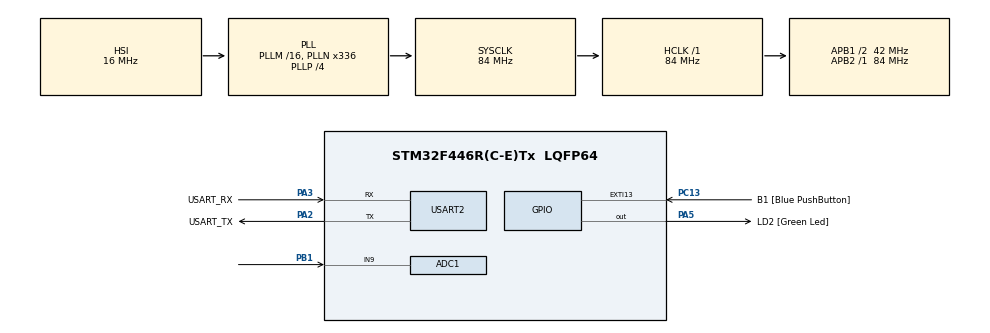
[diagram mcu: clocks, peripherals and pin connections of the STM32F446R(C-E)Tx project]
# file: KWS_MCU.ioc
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ADC1.Channel-0\#ChannelRegularConversion=ADC_CHANNEL_9
ADC1.ClockPrescaler=ADC_CLOCK_SYNC_PCLK_DIV4
ADC1.ContinuousConvMode=DISABLE
ADC1.DMAContinuousRequests=ENABLE
ADC1.DataAlign=ADC_DATAALIGN_RIGHT
ADC1.DiscontinuousConvMode=DISABLE
ADC1.EOCSelection=ADC_EOC_SINGLE_CONV
ADC1.EnableAnalogWatchDog=false
ADC1.ExternalTrigConv=ADC_EXTERNALTRIGCONV_T2_TRGO
ADC1.ExternalTrigConvEdge=ADC_EXTERNALTRIGCONVEDGE_RISING
ADC1.InjNumberOfConversion=0
ADC1.NbrOfConversion=1
ADC1.NbrOfConversionFlag=1
ADC1.Rank-0\#ChannelRegularConversion=1
ADC1.Resolution=ADC_RESOLUTION_12B
ADC1.SamplingTime-0\#ChannelRegularConversion=ADC_SAMPLETIME_3CYCLES
ADC1.ScanConvMode=DISABLE
ADC1.master=1
Dma.ADC1.0.Direction=DMA_PERIPH_TO_MEMORY
Dma.ADC1.0.FIFOMode=DMA_FIFOMODE_DISABLE
Dma.ADC1.0.Instance=DMA2_Stream0
Dma.ADC1.0.MemDataAlignment=DMA_MDATAALIGN_WORD
Dma.ADC1.0.MemInc=DMA_MINC_ENABLE
Dma.ADC1.0.Mode=DMA_CIRCULAR
Dma.ADC1.0.PeriphDataAlignment=DMA_PDATAALIGN_WORD
Dma.ADC1.0.PeriphInc=DMA_PINC_DISABLE
Dma.ADC1.0.Priority=DMA_PRIORITY_HIGH
Dma.Request0=ADC1
Mcu.Family=STM32F4
Mcu.Name=STM32F446R(C-E)Tx
Mcu.Package=LQFP64
NVIC.DMA2_Stream0_IRQn=true\:0\:0\:false\:false\:true\:false\:true
NVIC.PriorityGroup=NVIC_PRIORITYGROUP_0
PA13.GPIO_Label=TMS
PA13.Mode=Serial_Wire
PA13.Signal=SYS_JTMS-SWDIO
PA14.GPIO_Label=TCK
PA14.Mode=Serial_Wire
PA14.Signal=SYS_JTCK-SWCLK
PA2.GPIO_Label=USART_TX
PA2.Mode=Asynchronous
PA2.Signal=USART2_TX
PA3.GPIO_Label=USART_RX
PA3.Mode=Asynchronous
PA3.Signal=USART2_RX
PA5.GPIO_Label=LD2 [Green Led]
PA5.Signal=GPIO_Output
PB1.Signal=ADCx_IN9
PB3.GPIO_Label=SWO
PB3.Signal=SYS_JTDO-SWO
PC13.GPIO_Label=B1 [Blue PushButton]
PC13.GPIO_ModeDefaultEXTI=GPIO_MODE_IT_FALLING
PC13.Signal=GPXTI13
PC14-OSC32_IN.Mode=LSE-External-Oscillator
PC14-OSC32_IN.Signal=RCC_OSC32_IN
PC15-OSC32_OUT.Mode=LSE-External-Oscillator
PC15-OSC32_OUT.Signal=RCC_OSC32_OUT
PH0-OSC_IN.Mode=HSE-External-Oscillator
PH0-OSC_IN.Signal=RCC_OSC_IN
PH1-OSC_OUT.Mode=HSE-External-Oscillator
PH1-OSC_OUT.Signal=RCC_OSC_OUT
ProjectManager.HeapSize=0x200
ProjectManager.StackSize=0x400
ProjectManager.TargetToolchain=MDK-ARM V5
RCC.48MHZClocksFreq_Value=84000000
RCC.AHBFreq_Value=84000000
RCC.APB1CLKDivider=RCC_HCLK_DIV2
RCC.APB1Freq_Value=42000000
RCC.APB1TimFreq_Value=84000000
RCC.APB2Freq_Value=84000000
RCC.APB2TimFreq_Value=84000000
RCC.CortexFreq_Value=84000000
RCC.FLatency-AdvancedSettings=FLASH_LATENCY_2
RCC.HCLKFreq_Value=84000000
RCC.HSE_VALUE=8000000
RCC.HSI_VALUE=16000000
RCC.PLLN=336
RCC.PLLP=RCC_PLLP_DIV4
RCC.SYSCLKFreq_VALUE=84000000
RCC.SYSCLKSource=RCC_SYSCLKSOURCE_PLLCLK
RCC.USBFreq_Value=168000000
RCC.VCOOutputFreq_Value=336000000
SH.ADCx_IN9.0=ADC1_IN9,IN9
TIM2.Period=5249
TIM2.TIM_MasterOutputTrigger=TIM_TRGO_UPDATE
USART2.VirtualMode=VM_ASYNC
VP_TIM2_VS_ClockSourceINT.Mode=Internal
board=NUCLEO-F446RE

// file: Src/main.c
/**
  ******************************************************************************
  * @file           : main.c
  * @brief          : Main program body
  ******************************************************************************
  ** This notice applies to any and all portions of this file
  * that are not between comment pairs USER CODE BEGIN and
  * USER CODE END. Other portions of this file, whether
  * inserted by the user or by software development tools
  * are owned by their respective copyright owners.
  *
  * COPYRIGHT(c) 2019 STMicroelectronics
  *
  * Redistribution and use in source and binary forms, with or without modification,
  * are permitted provided that the following conditions are met:
  *   1. Redistributions of source code must retain the above copyright notice,
  *      this list of conditions and the following disclaimer.
  *   2. Redistributions in binary form must reproduce the above copyright notice,
  *      this list of conditions and the following disclaimer in the documentation
  *      and/or other materials provided with the distribution.
  *   3. Neither the name of STMicroelectronics nor the names of its contributors
  *      may be used to endorse or promote products derived from this software
  *      without specific prior written permission.
  *
  * THIS SOFTWARE IS PROVIDED BY THE COPYRIGHT HOLDERS AND CONTRIBUTORS "AS IS"
  * AND ANY EXPRESS OR IMPLIED WARRANTIES, INCLUDING, BUT NOT LIMITED TO, THE
  * IMPLIED WARRANTIES OF MERCHANTABILITY AND FITNESS FOR A PARTICULAR PURPOSE ARE
  * DISCLAIMED. IN NO EVENT SHALL THE COPYRIGHT HOLDER OR CONTRIBUTORS BE LIABLE
  * FOR ANY DIRECT, INDIRECT, INCIDENTAL, SPECIAL, EXEMPLARY, OR CONSEQUENTIAL
  * DAMAGES (INCLUDING, BUT NOT LIMITED TO, PROCUREMENT OF SUBSTITUTE GOODS OR
  * SERVICES; LOSS OF USE, DATA, OR PROFITS; OR BUSINESS INTERRUPTION) HOWEVER
  * CAUSED AND ON ANY THEORY OF LIABILITY, WHETHER IN CONTRACT, STRICT LIABILITY,
  * OR TORT (INCLUDING NEGLIGENCE OR OTHERWISE) ARISING IN ANY WAY OUT OF THE USE
  * OF THIS SOFTWARE, EVEN IF ADVISED OF THE POSSIBILITY OF SUCH DAMAGE.
  *
  ******************************************************************************
  */
#include "main.h"
#include "stm32f4xx_hal.h"
#include "adc.h"
#include "dma.h"
#include "tim.h"
#include "usart.h"
#include "gpio.h"
#include "filter_values.h"
#include "network_weights.h"
#include "network_parameters.h"
#include "arm_nnfunctions.h"

/* USER CODE BEGIN Includes */
#include "stdint.h"
#include "arm_math.h"
#include "core_cm4.h"
#include "arm_const_structs.h"
#include "LCD.h"

/* USER CODE END Includes */

/* USER CODE BEGIN PV */
/* Private variables ---------------------------------------------------------*/
#define N_FFT 512
#define N_SHIFT 160
#define N_MEL 40
#define N_FRAMES 100
#define RFFT 0
#define RIFFT 1

uint32_t audio_input_A[N_SHIFT];
uint32_t audio_input_B[N_SHIFT];
uint32_t * current_audio_input = audio_input_A;
float spectrogram[N_FRAMES*N_MEL];
q7_t q7_spectrogram[N_FRAMES*N_MEL] = TEST_INPUT;
float current_frame[N_FFT];
float DC_value[1];
float FFT_in[N_FFT];
float FFT_out[N_FFT];
float MAG_out[N_FFT/2];
volatile int adc_done = 0;
int i = 0;
int j = 0;
int k = 0;
int frame_pos = 0;

// include the input and weights
static q7_t conv0_wt[CONV0_IM_CH * CONV0_KER_DIM_X * CONV0_KER_DIM_Y * CONV0_OUT_CH] = CONV0_WT;
static q7_t conv0_bias[CONV0_OUT_CH] = CONV0_BIAS;
static q7_t conv1_wt[CONV1_IM_CH * CONV1_KER_DIM_X * CONV1_KER_DIM_Y * CONV1_OUT_CH] = CONV1_WT;
static q7_t conv1_bias[CONV1_OUT_CH] = CONV1_BIAS;
static q7_t conv2_wt[CONV2_IM_CH * CONV2_KER_DIM_X * CONV2_KER_DIM_Y * CONV2_OUT_CH] = CONV2_WT;
static q7_t conv2_bias[CONV2_OUT_CH] = CONV2_BIAS;
static q7_t conv3_wt[CONV3_IM_CH * CONV3_KER_DIM_X * CONV3_KER_DIM_Y * CONV3_OUT_CH] = CONV3_WT;
static q7_t conv3_bias[CONV3_OUT_CH] = CONV3_BIAS;
static q7_t conv4_wt[CONV4_IM_CH * CONV4_KER_DIM_X * CONV4_KER_DIM_Y * CONV4_OUT_CH] = CONV4_WT;
static q7_t conv4_bias[CONV4_OUT_CH] = CONV4_BIAS;
static q7_t conv5_wt[CONV5_IM_CH * CONV5_KER_DIM_X * CONV5_KER_DIM_Y * CONV5_OUT_CH] = CONV5_WT;
static q7_t conv5_bias[CONV5_OUT_CH] = CONV5_BIAS;
static q7_t conv6_wt[CONV6_IM_CH * CONV6_KER_DIM_X * CONV6_KER_DIM_Y * CONV6_OUT_CH] = CONV6_WT;
static q7_t conv6_bias[CONV6_OUT_CH] = CONV6_BIAS;

static q7_t ip1_wt[IP1_DIM * IP1_OUT] = IP1_WT;
static q7_t ip1_bias[IP1_OUT] = IP1_BIAS;

q7_t img_buffer1[1600];
q7_t img_buffer2[1600];
q7_t mean_buffer[48*13];
q7_t fc_input[48];
q7_t fc_output[12];
q7_t softmax_output[12];

q15_t bufferA[2*CONV6_IM_CH*CONV1_KER_DIM_X*CONV1_KER_DIM_Y];

/* USER CODE END PV */

void SystemClock_Config(void);

/* USER CODE BEGIN PFP */
/* Private function prototypes -----------------------------------------------*/
uint16_t pixel_color(float coeff_value);
void draw_square(int16_t x, int16_t y, uint16_t color);
void compute_logMelCoefficients(int frame_position);
uint8_t TC_ResNet(void);

/* USER CODE END PFP */

/* USER CODE BEGIN 0 */

void print_class(q7_t * output_prob)
{
	q7_t val_result[1];
	uint32_t index_result[1];
	arm_max_q7(output_prob, 12, val_result, index_result);
	switch(index_result[0])
	{
		case 0: LCD_Printf("Silence\r\n"); break;
		case 1: LCD_Printf("Unknown\r\n"); break;
		case 2: LCD_Printf("Yes\r\n"); break;
		case 3: LCD_Printf("No\r\n"); break;
		case 4: LCD_Printf("Up\r\n"); break;
		case 5: LCD_Printf("Down\r\n"); break;
		case 6: LCD_Printf("Left\r\n"); break;
		case 7: LCD_Printf("Right\r\n"); break;
		case 8: LCD_Printf("On\r\n"); break;
		case 9: LCD_Printf("Off\r\n"); break;
		case 10: LCD_Printf("Stop\r\n"); break;
		case 11: LCD_Printf("Go\r\n"); break;
	}

}

void draw_square(int16_t x, int16_t y, uint16_t color)
{
	LCD_DrawPixel(x, y, color);
	LCD_DrawPixel(x+1, y, color);
	LCD_DrawPixel(x, y+1, color);
	LCD_DrawPixel(x+1, y+1, color);
}

uint16_t pixel_color(float coeff_value)
{
	if (coeff_value > 0.5)
		return MAGENTA;
	else if (coeff_value > 0.0)
		return RED;
	else if (coeff_value > -0.5)
		return YELLOW;
	else
		return CYAN;
}

void compute_logMelCoefficients(int frame_position)
{
	//Shifting old values
	for(j=N_SHIFT; j<2*N_SHIFT; j++)
	{
		current_frame[j+N_SHIFT] = current_frame[j];
	}
	for(j=0; j<N_SHIFT; j++)
	{
		current_frame[j+N_SHIFT] = current_frame[j];
	}

	//Conversion from uint32 to float
	for(j=0; j<N_SHIFT; j++)
	{
		current_frame[j] = audio_input_A[j];
	}
	// Substract average to remove DC
	arm_mean_f32(current_frame, N_SHIFT, DC_value);
	for(j=0; j<N_SHIFT; j++)
	{
		current_frame[j] = current_frame[j] - DC_value[0];
	}

	//if (frame_position<2)
	//	return;

	for(j=0; j<480; j++)
	{
		FFT_in[j] = current_frame[j]*HAMMING_WINDOW[j];
	}
	for(j=480; j<N_FFT; j++)
	{
		FFT_in[j] = 0.0;
	}
	// Compute one FFT and its magnitude

	arm_rfft_fast_instance_f32 fftInstance;
	arm_rfft_fast_init_f32(&fftInstance, N_FFT);
	arm_rfft_fast_f32(&fftInstance, FFT_in, FFT_out, 0);
	arm_cmplx_mag_f32(FFT_out, MAG_out, (N_FFT/2));

	// Clear the buffer
	for(j=0; j<N_MEL; j++)
	{
		spectrogram[frame_position*N_MEL + j] = 0.0;
	}

	// Apply Filterbank
	for(j=0; j<N_MEL; j++)
	{
		for(k=0; k<32; k++)
		{
			int indice = FILTER_INDICES[j];
			spectrogram[frame_position*N_MEL + j] = spectrogram[frame_position*N_MEL + j] + MAG_out[indice+k]*FILTERBANK[32*j+k];
		}
		spectrogram[frame_position*N_MEL + j] = (float)0.2*log(spectrogram[frame_position*N_MEL + j])-1.6;
		uint16_t color = pixel_color(spectrogram[frame_position*N_MEL + j]);
		draw_square(140+2*j, 20 + 2*frame_position, color);
	}
}

uint8_t TC_ResNet()
{
	// Conv0
  arm_convolve_HWC_q7_basic_nonsquare(q7_spectrogram, CONV0_IM_DIM_X, CONV0_IM_DIM_Y, CONV0_IM_CH, conv0_wt, CONV0_OUT_CH, CONV0_KER_DIM_X,
																		CONV0_KER_DIM_Y, CONV0_PADDING_X, CONV0_PADDING_Y, CONV0_STRIDE_X, CONV0_STRIDE_Y, conv0_bias,
																		CONV0_BIAS_LSHIFT, CONV0_OUT_RSHIFT, img_buffer1, CONV0_OUT_DIM_X, CONV0_OUT_DIM_Y, bufferA, NULL);
	arm_relu_q7(img_buffer1, CONV0_OUT_DIM_X*CONV0_OUT_DIM_Y*CONV0_OUT_CH);

	// Conv1
	arm_convolve_HWC_q7_basic_nonsquare(img_buffer1, CONV1_IM_DIM_X, CONV1_IM_DIM_Y, CONV1_IM_CH, conv1_wt, CONV1_OUT_CH, CONV1_KER_DIM_X,
																		CONV1_KER_DIM_Y, CONV1_PADDING_X, CONV1_PADDING_Y, CONV1_STRIDE_X, CONV1_STRIDE_Y, conv1_bias,
																		CONV1_BIAS_LSHIFT, CONV1_OUT_RSHIFT, img_buffer2, CONV1_OUT_DIM_X, CONV1_OUT_DIM_Y, bufferA, NULL);
	arm_relu_q7(img_buffer2, CONV1_OUT_DIM_X*CONV1_OUT_DIM_Y*CONV1_OUT_CH);

	// Conv2
	arm_convolve_HWC_q7_basic_nonsquare(img_buffer2, CONV2_IM_DIM_X, CONV2_IM_DIM_Y, CONV2_IM_CH, conv2_wt, CONV2_OUT_CH, CONV2_KER_DIM_X,
																		CONV2_KER_DIM_Y, CONV2_PADDING_X, CONV2_PADDING_Y, CONV2_STRIDE_X, CONV2_STRIDE_Y, conv2_bias,
																		CONV2_BIAS_LSHIFT, CONV2_OUT_RSHIFT, img_buffer1, CONV2_OUT_DIM_X, CONV2_OUT_DIM_Y, bufferA, NULL);
	arm_relu_q7(img_buffer1, CONV2_OUT_DIM_X*CONV2_OUT_DIM_Y*CONV2_OUT_CH);

	// Conv3
	arm_convolve_HWC_q7_basic_nonsquare(img_buffer1, CONV3_IM_DIM_X, CONV3_IM_DIM_Y, CONV3_IM_CH, conv3_wt, CONV3_OUT_CH, CONV3_KER_DIM_X,
																		CONV3_KER_DIM_Y, CONV3_PADDING_X, CONV3_PADDING_Y, CONV3_STRIDE_X, CONV3_STRIDE_Y, conv3_bias,
																		CONV3_BIAS_LSHIFT, CONV3_OUT_RSHIFT, img_buffer2, CONV3_OUT_DIM_X, CONV3_OUT_DIM_Y, bufferA, NULL);
	arm_relu_q7(img_buffer2, CONV3_OUT_DIM_X*CONV3_OUT_DIM_Y*CONV3_OUT_CH);

	// Conv4
	arm_convolve_HWC_q7_basic_nonsquare(img_buffer2, CONV4_IM_DIM_X, CONV4_IM_DIM_Y, CONV4_IM_CH, conv4_wt, CONV4_OUT_CH, CONV4_KER_DIM_X,
																		CONV4_KER_DIM_Y, CONV4_PADDING_X, CONV4_PADDING_Y, CONV4_STRIDE_X, CONV4_STRIDE_Y, conv4_bias,
																		CONV4_BIAS_LSHIFT, CONV4_OUT_RSHIFT, img_buffer1, CONV4_OUT_DIM_X, CONV4_OUT_DIM_Y, bufferA, NULL);
	arm_relu_q7(img_buffer1, CONV4_OUT_DIM_X*CONV4_OUT_DIM_Y*CONV4_OUT_CH);

	// Conv5
	arm_convolve_HWC_q7_basic_nonsquare(img_buffer1, CONV5_IM_DIM_X, CONV5_IM_DIM_Y, CONV5_IM_CH, conv5_wt, CONV5_OUT_CH, CONV5_KER_DIM_X,
																		CONV5_KER_DIM_Y, CONV5_PADDING_X, CONV5_PADDING_Y, CONV5_STRIDE_X, CONV5_STRIDE_Y, conv5_bias,
																		CONV5_BIAS_LSHIFT, CONV5_OUT_RSHIFT, img_buffer2, CONV5_OUT_DIM_X, CONV5_OUT_DIM_Y, bufferA, NULL);
	arm_relu_q7(img_buffer2, CONV5_OUT_DIM_X*CONV5_OUT_DIM_Y*CONV5_OUT_CH);

	// Conv6
	arm_convolve_HWC_q7_basic_nonsquare(img_buffer2, CONV6_IM_DIM_X, CONV6_IM_DIM_Y, CONV6_IM_CH, conv6_wt, CONV6_OUT_CH, CONV6_KER_DIM_X,
																		CONV6_KER_DIM_Y, CONV6_PADDING_X, CONV6_PADDING_Y, CONV6_STRIDE_X, CONV6_STRIDE_Y, conv6_bias,
																		CONV6_BIAS_LSHIFT, CONV6_OUT_RSHIFT, img_buffer1, CONV6_OUT_DIM_X, CONV6_OUT_DIM_Y, bufferA, NULL);
	arm_relu_q7(img_buffer1, CONV6_OUT_DIM_X*CONV6_OUT_DIM_Y*CONV6_OUT_CH);

	for(i=0; i<CONV6_OUT_CH; i++){
		for(j=0; j<CONV6_OUT_DIM_Y; j++){
			mean_buffer[CONV6_OUT_DIM_Y*i+j] = img_buffer1[CONV6_OUT_CH*j + i];
		}
	}

	for(i=0; i<CONV6_OUT_CH; i++){
		arm_mean_q7(&mean_buffer[CONV6_OUT_DIM_Y*i], CONV6_OUT_DIM_Y ,&fc_input[i]);
	}

	// Everything upto here works (about same results as Python for an array of 1s as input)
	arm_fully_connected_q7(fc_input, ip1_wt, IP1_DIM, IP1_OUT, IP1_BIAS_LSHIFT, IP1_OUT_RSHIFT, ip1_bias, fc_output, bufferA);

	arm_softmax_q7(fc_output, IP1_OUT, softmax_output);

	return 0;
}

/* USER CODE END 0 */

int main(void)
{

  /* MCU Configuration----------------------------------------------------------*/

  /* Reset of all peripherals, Initializes the Flash interface and the Systick. */
  HAL_Init();

  /* Configure the system clock */
  SystemClock_Config();

  /* Initialize all configured peripherals */
  MX_GPIO_Init();
  MX_DMA_Init();
  MX_USART2_UART_Init();
  MX_ADC1_Init();
  MX_TIM2_Init();
  /* USER CODE BEGIN 2 */
  LCD_Begin();
  HAL_Delay(20);
  LCD_SetRotation(1);
  LCD_FillScreen(BLACK);
  // Enabling ADC and DMA timer
  HAL_TIM_Base_Start(&htim2);
  HAL_ADC_Start_DMA(&hadc1, current_audio_input, N_SHIFT);

  /* USER CODE END 2 */

  /* Infinite loop */
  while (1)
  {

  /* USER CODE BEGIN 3 */
		while (adc_done == 0) {};
		adc_done = 0;

		//Compute and print spectrogram
		compute_logMelCoefficients(frame_pos);

		//Updating frame position
		if(frame_pos > 100)
		{
			frame_pos = 0;
			LCD_FillScreen(BLACK);
			LCD_SetRotation(2);
			LCD_SetCursor(0, 0);
			arm_float_to_q7(spectrogram, q7_spectrogram, N_MEL*N_FRAMES);
			TC_ResNet();
			print_class(softmax_output);
			LCD_SetRotation(1);
		}
		else
		{
			frame_pos = frame_pos + 1;
		}

  }
  /* USER CODE END 3 */

}

void SystemClock_Config(void)
{

  RCC_OscInitTypeDef RCC_OscInitStruct;
  RCC_ClkInitTypeDef RCC_ClkInitStruct;

    /**Configure the main internal regulator output voltage
    */
  __HAL_RCC_PWR_CLK_ENABLE();

  __HAL_PWR_VOLTAGESCALING_CONFIG(PWR_REGULATOR_VOLTAGE_SCALE3);

    /**Initializes the CPU, AHB and APB busses clocks
    */
  RCC_OscInitStruct.OscillatorType = RCC_OSCILLATORTYPE_HSI;
  RCC_OscInitStruct.HSIState = RCC_HSI_ON;
  RCC_OscInitStruct.HSICalibrationValue = 16;
  RCC_OscInitStruct.PLL.PLLState = RCC_PLL_ON;
  RCC_OscInitStruct.PLL.PLLSource = RCC_PLLSOURCE_HSI;
  RCC_OscInitStruct.PLL.PLLM = 16;
  RCC_OscInitStruct.PLL.PLLN = 336;
  RCC_OscInitStruct.PLL.PLLP = RCC_PLLP_DIV4;
  RCC_OscInitStruct.PLL.PLLQ = 2;
  RCC_OscInitStruct.PLL.PLLR = 2;
  if (HAL_RCC_OscConfig(&RCC_OscInitStruct) != HAL_OK)
  {
    _Error_Handler(__FILE__, __LINE__);
  }

    /**Initializes the CPU, AHB and APB busses clocks
    */
  RCC_ClkInitStruct.ClockType = RCC_CLOCKTYPE_HCLK|RCC_CLOCKTYPE_SYSCLK
                              |RCC_CLOCKTYPE_PCLK1|RCC_CLOCKTYPE_PCLK2;
  RCC_ClkInitStruct.SYSCLKSource = RCC_SYSCLKSOURCE_PLLCLK;
  RCC_ClkInitStruct.AHBCLKDivider = RCC_SYSCLK_DIV1;
  RCC_ClkInitStruct.APB1CLKDivider = RCC_HCLK_DIV2;
  RCC_ClkInitStruct.APB2CLKDivider = RCC_HCLK_DIV1;

  if (HAL_RCC_ClockConfig(&RCC_ClkInitStruct, FLASH_LATENCY_2) != HAL_OK)
  {
    _Error_Handler(__FILE__, __LINE__);
  }

    /**Configure the Systick interrupt time
    */
  HAL_SYSTICK_Config(HAL_RCC_GetHCLKFreq()/1000);

    /**Configure the Systick
    */
  HAL_SYSTICK_CLKSourceConfig(SYSTICK_CLKSOURCE_HCLK);

  /* SysTick_IRQn interrupt configuration */
  HAL_NVIC_SetPriority(SysTick_IRQn, 0, 0);
}

/* USER CODE BEGIN 4 */

void HAL_ADC_ConvCpltCallback(ADC_HandleTypeDef* hadc) {
	if (hadc->Instance == ADC1) {
		//switch buffer
		if (current_audio_input == audio_input_A)
			current_audio_input = audio_input_B;
		else
			current_audio_input = audio_input_A;
		adc_done = 1;
	}
}

/* USER CODE END 4 */

void _Error_Handler(char *file, int line)
{
  while(1)
  {
  }
}

/************************ (C) COPYRIGHT STMicroelectronics *****END OF FILE****/
